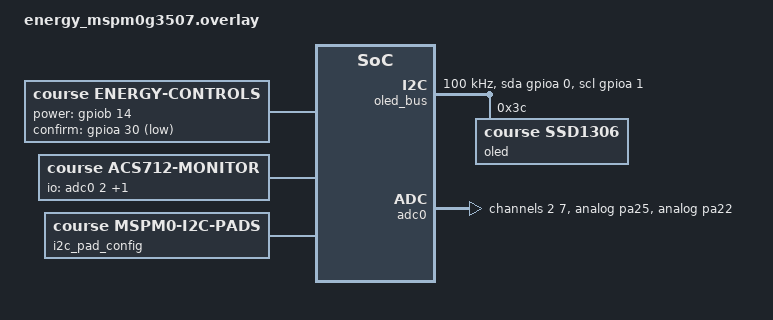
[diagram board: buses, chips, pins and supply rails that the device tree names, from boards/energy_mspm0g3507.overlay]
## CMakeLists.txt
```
cmake_minimum_required(VERSION 3.20.0)
list(APPEND BOARD_ROOT ${CMAKE_CURRENT_SOURCE_DIR})
list(APPEND DTS_ROOT ${CMAKE_CURRENT_SOURCE_DIR})
find_package(Zephyr REQUIRED HINTS $ENV{ZEPHYR_BASE})
include(${CMAKE_CURRENT_SOURCE_DIR}/cmake/zephyr_utf8.cmake)
project(energy_monitor)
target_sources(app PRIVATE src/main.c src/monitor.c src/acs712.c src/button.c
  src/ui_model.c src/ui_render.c src/ssd1306.c src/oled.c
  boards/seekfree/energy_mspm0g3507/i2c_inputs.c)
target_compile_options(app PRIVATE -Wall -Wextra)
```

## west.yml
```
manifest:
  projects:
    - name: zephyr
      url: https://github.com/zephyrproject-rtos/zephyr
      revision: 6ab04eeedd2036cdae06538056bc55848f9e5f82
      import: true
  self:
    path: energy-monitor
```

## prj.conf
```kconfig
CONFIG_GPIO=y
CONFIG_I2C=y
CONFIG_SERIAL=y
CONFIG_CONSOLE=y
CONFIG_UART_CONSOLE=y
CONFIG_PRINTK=y
CONFIG_MAIN_STACK_SIZE=2048
CONFIG_ADC=y
CONFIG_ADC_ASYNC=y
```

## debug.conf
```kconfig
CONFIG_USE_SEGGER_RTT=y
CONFIG_RTT_CONSOLE=y
CONFIG_UART_CONSOLE=n
CONFIG_SEGGER_RTT_BUFFER_SIZE_UP=8192
CONFIG_DEBUG_OPTIMIZATIONS=y
CONFIG_THREAD_NAME=y
```

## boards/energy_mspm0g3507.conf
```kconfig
CONFIG_I2C_GPIO=y
CONFIG_I2C_GPIO_CLOCK_STRETCHING=y
CONFIG_I2C_GPIO_CLOCK_STRETCHING_TIMEOUT_US=100
```

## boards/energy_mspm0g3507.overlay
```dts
#include <zephyr/dt-bindings/gpio/gpio.h>
#include <zephyr/dt-bindings/adc/adc.h>
#include <zephyr/dt-bindings/clock/mspm0_clock.h>
/ {
	controls: energy-controls {
		compatible = "course,energy-controls";
		power-gpios = <&gpiob 14 GPIO_ACTIVE_HIGH>;
		confirm-gpios = <&gpioa 30 GPIO_ACTIVE_LOW>;
	};
	oled_bus: oled-i2c {
		compatible = "gpio-i2c";
		#address-cells = <1>;
		#size-cells = <0>;
		scl-gpios = <&gpioa 1 (GPIO_ACTIVE_HIGH | GPIO_OPEN_DRAIN)>;
		sda-gpios = <&gpioa 0 (GPIO_ACTIVE_HIGH | GPIO_OPEN_DRAIN)>;
		clock-frequency = <100000>;
		status = "okay";
		oled: display@3c {
			compatible = "course,ssd1306";
			reg = <0x3c>;
		};
	};
	acs712: current-monitor {
		compatible = "course,acs712-monitor";
		/* 通道顺序与ADC返回缓冲区一致：PA25电流、PA22输入电压。 */
		io-channels = <&adc0 2>, <&adc0 7>;
		sensitivity-microvolt-per-amp = <185000>;
		current-divider-top-ohms = <10000>;
		current-divider-bottom-ohms = <10000>;
		bus-divider-top-ohms = <10000>;
		bus-divider-bottom-ohms = <1000>;
	};
	i2c_pad_config: i2c-pad-config {
		compatible = "course,mspm0-i2c-pads";
		pinctrl-0 = <&gpioa_00_pa0 &gpioa_01_pa1>;
		pinctrl-names = "default";
	};
};
&gpioa_00_pa0 { input-enable; drive-open-drain; bias-disable; };
&gpioa_01_pa1 { input-enable; drive-open-drain; bias-disable; };
&adc0 {
	clocks = <&ckm MSPM0_CLOCK_ULPCLK>;
	ti,clk-divider = <4>;
	ti,clk-range = <6>; /* ULPCLK=40MHz，输入时钟32~40MHz档，再除4。 */
	max-result-reg = <12>;
	pinctrl-0 = <&analog_pa25 &analog_pa22>;
	pinctrl-names = "default";
	status = "okay";
	#address-cells = <1>;
	#size-cells = <0>;
	channel@2 {
		reg = <2>;
		zephyr,gain = "ADC_GAIN_1";
		zephyr,reference = "ADC_REF_VDD_1";
		zephyr,acquisition-time = <ADC_ACQ_TIME(ADC_ACQ_TIME_TICKS, 160)>;
		zephyr,resolution = <12>;
	};
	channel@7 {
		reg = <7>;
		zephyr,gain = "ADC_GAIN_1";
		zephyr,reference = "ADC_REF_VDD_1";
		zephyr,acquisition-time = <ADC_ACQ_TIME(ADC_ACQ_TIME_TICKS, 160)>;
		zephyr,resolution = <12>;
	};
};
```

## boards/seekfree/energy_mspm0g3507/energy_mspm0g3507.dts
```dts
/dts-v1/;
#include <ti/mspm0/g/mspm0g3507.dtsi>
#include <ti/mspm0/g/mspm0g1x0x_g3x0x-pinctrl.dtsi>
#include <zephyr/dt-bindings/clock/mspm0_clock.h>
#include <zephyr/dt-bindings/gpio/gpio.h>

/ {
	model = "SEEKFREE MSPM0G3507 CoreBoard + MotherBoard";
	compatible = "seekfree,energy-mspm0g3507";
	chosen {
		zephyr,sram = &sram0;
		zephyr,flash = &flash0;
		zephyr,console = &uart2;
	};
};
&cpu0 { clock-frequency = <DT_FREQ_M(80)>; };
&ulpclk { clock-frequency = <DT_FREQ_M(40)>; clk-div = <2>; };
&mclk { clock-frequency = <DT_FREQ_M(80)>; clocks = <&syspll>; };
&flash0 { status = "okay"; };
&pinctrl { status = "okay"; };
&gpioa {
	status = "okay";
	/* PA14 also drives core LED2. Keep the motherboard buzzer OFF. */
	buzzer_off {
		gpio-hog;
		gpios = <14 GPIO_ACTIVE_HIGH>;
		output-low;
		line-name = "buzzer-off";
	};
};
&gpiob { status = "okay"; };
&uart2 {
	pinctrl-0 = <&uart2_tx_pb15 &uart2_rx_pb16>;
	pinctrl-names = "default";
	current-speed = <115200>;
	status = "okay";
};
```

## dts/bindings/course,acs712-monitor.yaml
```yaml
description: ACS712-05B current sensing and motherboard input voltage dividers
compatible: "course,acs712-monitor"
include: base.yaml
properties:
  io-channels:
    required: true
    description: ADC current input followed by motherboard VCCBAT input
  sensitivity-microvolt-per-amp:
    type: int
    required: true
    description: ACS712 sensitivity at 5V supply; 05B is 185000
  current-divider-top-ohms:
    type: int
    required: true
  current-divider-bottom-ohms:
    type: int
    required: true
  bus-divider-top-ohms:
    type: int
    required: true
  bus-divider-bottom-ohms:
    type: int
    required: true
```

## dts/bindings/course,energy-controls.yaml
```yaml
description: Energy monitor GPIO controls, polled by the application
compatible: "course,energy-controls"
include: base.yaml
properties:
  power-gpios:
    type: phandle-array
    required: true
  confirm-gpios:
    type: phandle-array
    required: true
```

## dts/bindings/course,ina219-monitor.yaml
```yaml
description: INA219 raw shunt and bus acquisition with bounded conversion polling
compatible: "course,ina219-monitor"
include: i2c-device.yaml
properties:
  shunt-micro-ohms:
    type: int
    required: true
    description: Actual shunt resistance in microohms; R100 is 100000
```

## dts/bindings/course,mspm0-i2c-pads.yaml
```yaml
description: Restore physical input sensing on MSPM0 software I2C pads after GPIO setup
compatible: "course,mspm0-i2c-pads"
include: [base.yaml, pinctrl-device.yaml]
```

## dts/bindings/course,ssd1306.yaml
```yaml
description: Application SSD1306 128x64 I2C OLED, with 0x3C/0x3D discovery
compatible: "course,ssd1306"
include: i2c-device.yaml
```

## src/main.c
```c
#include "acs712.h"
#include "monitor.h"
#include "button.h"
#include "oled.h"
#include <errno.h>
#include <zephyr/drivers/gpio.h>
#include <zephyr/kernel.h>
#include <zephyr/sys/printk.h>

#define CTRL DT_NODELABEL(controls)
static const struct gpio_dt_spec power = GPIO_DT_SPEC_GET(CTRL, power_gpios);
static const struct gpio_dt_spec key = GPIO_DT_SPEC_GET(CTRL, confirm_gpios);

static int io_init(void)
{
	if (!gpio_is_ready_dt(&power)) {
		return -ENODEV;
	}
	/* PB14高电平导通，上电先配置为低电平，等待用户按键接通负载。 */
	int rc = gpio_pin_configure_dt(&power, GPIO_OUTPUT_INACTIVE);
	if (rc) {
		return rc;
	}
	if (!gpio_is_ready_dt(&key)) {
		return -ENODEV;
	}
	return gpio_pin_configure_dt(&key, GPIO_INPUT);
}

static int outputs_update(const struct monitor *m)
{
	return gpio_pin_set_dt(&power, monitor_power_on(m));
}

int main(void)
{
	struct monitor m;
	struct button button = {0};
	monitor_init(&m);
	int rc = io_init();
	if (rc) {
		printk("GPIO init failed: %d\n", rc);
		return rc;
	}
	oled_start(&m);
	printk("12V ACS712-05B monitor: boot OFF; button=restore/cancel countdown.\n");
	int64_t next_sample = 0, next_report = 0;
	enum monitor_state previous_state = MON_OFF;
	while (true) {
		int64_t now = k_uptime_get();
		if (now >= next_sample) {
			struct measurement sample;
			rc = acs712_acquire(&sample);
			now = k_uptime_get();
			monitor_sample(&m, now, rc == 0, rc == 0 ? &sample : NULL);
			if (rc && m.state != previous_state) {
				printk("ACS712 error: %d; output disabled\n", rc);
			}
			/* 转换完成后等待100ms；状态机使用实际时间计算30秒时长。 */
			next_sample = now + 100;
		}
		/* PA30配置为低有效，gpio_pin_get_dt返回1表示物理按下。 */
		int pressed = gpio_pin_get_dt(&key);
		if (pressed < 0) {
			monitor_sample(&m, now, false, NULL);
		} else if (button_update(&button, pressed != 0, now)) {
			if (!monitor_enable(&m, now)) {
				printk("Enable refused: measurement unavailable\n");
			} else {
				printk("Button: supply enabled/countdown restarted\n");
			}
		}
		rc = outputs_update(&m);
		if (rc) {
			(void)gpio_pin_set_dt(&power, 0);
			monitor_sample(&m, now, false, NULL);
			oled_publish(&m);
			printk("GPIO output failed: %d\n", rc);
			return rc;
		}
		oled_publish(&m);
		if (m.state != previous_state) {
			printk("STATE %s -> %s\n", monitor_state_name(previous_state),
			       monitor_state_name(m.state));
			previous_state = m.state;
		}
		if (now >= next_report) {
			printk("DATA valid=%u state=%s bus=%d mV current=%d uA power=%lld uW "
			       "oled=%u\n",
			       m.valid, monitor_state_name(m.state), m.reading.bus_mv,
			       m.reading.current_ua, (long long)m.reading.power_uw,
			       oled_is_ready());
			const struct acs712_diagnostics *d = acs712_diagnostics_get();
			printk("ACS_DIAG n=%u ok=%u fail=%u last=%d calibrated=%u "
			       "raw=%u/%u out=%d uV zero=%d uV\n",
			       d->attempts, d->successes, d->failures, d->last_error,
			       d->calibrated, d->current_raw, d->bus_raw,
			       d->output_uv, d->zero_uv);
			next_report = now + 1000;
		}
		k_msleep(10);
	}
	return 0;
}
```

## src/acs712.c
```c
#include "acs712.h"
#include "app_config.h"
#include <errno.h>
#include <zephyr/drivers/adc.h>
#include <zephyr/kernel.h>

#define SENSOR DT_NODELABEL(acs712)
#define SENSITIVITY_UV_A DT_PROP(SENSOR, sensitivity_microvolt_per_amp)
#define CURRENT_DIV_TOP DT_PROP(SENSOR, current_divider_top_ohms)
#define CURRENT_DIV_BOTTOM DT_PROP(SENSOR, current_divider_bottom_ohms)
#define BUS_DIV_TOP DT_PROP(SENSOR, bus_divider_top_ohms)
#define BUS_DIV_BOTTOM DT_PROP(SENSOR, bus_divider_bottom_ohms)
#define SAMPLE_COUNT 32
#define ZERO_BATCHES 8
#define ADC_COUNTS 4096

static const struct adc_dt_spec current_adc = ADC_DT_SPEC_GET_BY_IDX(SENSOR, 0);
static const struct adc_dt_spec bus_adc = ADC_DT_SPEC_GET_BY_IDX(SENSOR, 1);
/* 按通道号从小到大排列：ADC0_CH2电流、ADC0_CH7母线电压。 */
BUILD_ASSERT(DT_IO_CHANNELS_INPUT_BY_IDX(SENSOR, 0) <
	     DT_IO_CHANNELS_INPUT_BY_IDX(SENSOR, 1), "ADC channels must be ordered");
BUILD_ASSERT(CURRENT_DIV_BOTTOM > 0 && BUS_DIV_BOTTOM > 0 && SENSITIVITY_UV_A > 0,
	     "ADC divider and sensitivity must be positive");
static uint16_t samples[SAMPLE_COUNT][2];
static struct k_poll_signal completion;
static struct k_poll_event event;
static bool initialized, in_flight;
static struct acs712_diagnostics diagnostics;

const struct acs712_diagnostics *acs712_diagnostics_get(void)
{
	return &diagnostics;
}

static int adc_init(void)
{
	if (!adc_is_ready_dt(&current_adc) || !adc_is_ready_dt(&bus_adc)) {
		return -ENODEV;
	}
	int rc = adc_channel_setup_dt(&current_adc);
	if (!rc) {
		rc = adc_channel_setup_dt(&bus_adc);
	}
	if (rc) {
		return rc;
	}
	k_poll_signal_init(&completion);
	k_poll_event_init(&event, K_POLL_TYPE_SIGNAL, K_POLL_MODE_NOTIFY_ONLY, &completion);
	initialized = true;
	/* 外接10kΩ/10kΩ分压、ADC端100nF滤波，等待电压建立后再标定零点。 */
	k_msleep(10);
	return 0;
}

static int finish_read(int timeout_ms)
{
	int rc = k_poll(&event, 1, K_MSEC(timeout_ms));
	if (rc) {
		return rc == -EAGAIN ? -ETIMEDOUT : rc;
	}
	unsigned int signaled;
	int result;
	k_poll_signal_check(&completion, &signaled, &result);
	if (!signaled) {
		return -EIO;
	}
	in_flight = false;
	return result;
}

static int read_average(int32_t *current_uv, int32_t *bus_uv)
{
	/* 超时后仍保留静态缓冲区，等旧请求完成再发新请求，避免覆盖未完成的ADC操作。 */
	if (in_flight) {
		int rc = finish_read(0);
		if (in_flight) {
			return rc;
		}
	}
	k_poll_signal_reset(&completion);
	event.state = K_POLL_STATE_NOT_READY;
	const struct adc_sequence_options options = {
		.interval_us = 1000,
		.extra_samplings = SAMPLE_COUNT - 1,
	};
	const struct adc_sequence sequence = {
		.channels = (1U << current_adc.channel_id) | (1U << bus_adc.channel_id),
		.buffer = samples,
		.buffer_size = sizeof(samples),
		.resolution = 12,
		.oversampling = 4, /* 每次硬件16次平均，再在约32ms内对32组结果做软件平均。 */
		.options = &options,
	};
	int rc = adc_read_async(current_adc.dev, &sequence, &completion);
	if (rc) {
		return rc;
	}
	in_flight = true;
	rc = finish_read(100);
	if (rc) {
		return rc;
	}
	uint32_t current_sum = 0, bus_sum = 0;
	for (unsigned int i = 0; i < SAMPLE_COUNT; ++i) {
		/* ADC贴近电源轨时拒绝读数，检查断线、短接或输入电压异常。 */
		if (samples[i][0] < 16 || samples[i][0] > 4079 ||
		    samples[i][1] < 16 || samples[i][1] > 4079) {
			return -ERANGE;
		}
		current_sum += samples[i][0];
		bus_sum += samples[i][1];
	}
	diagnostics.current_raw = (current_sum + SAMPLE_COUNT / 2) / SAMPLE_COUNT;
	diagnostics.bus_raw = (bus_sum + SAMPLE_COUNT / 2) / SAMPLE_COUNT;
	/* ADC以VDDA为参考，12位码值乘实测参考电压/4096得到引脚电压µV。
	 * 先累加原始值，再统一换算，保留平均后的亚LSB信息。
	 * ADC_REFERENCE_UV默认3300000，实物调试可按万用表读数修正。
	 */
	*current_uv = ((int64_t)current_sum * ADC_REFERENCE_UV +
		      (int64_t)SAMPLE_COUNT * ADC_COUNTS / 2) / (SAMPLE_COUNT * ADC_COUNTS);
	*bus_uv = ((int64_t)bus_sum * ADC_REFERENCE_UV +
		  (int64_t)SAMPLE_COUNT * ADC_COUNTS / 2) / (SAMPLE_COUNT * ADC_COUNTS);
	return 0;
}

static int acquire(struct measurement *sample)
{
	int rc;
	if (!initialized && (rc = adc_init())) {
		return rc;
	}
	if (!diagnostics.calibrated) {
		/* 上电PB14保持低，负载电流为零。8×32组平均标定实际零点，约0.3秒。
		 * 05B在5V供电时零点约2.5V；OUT经过1:1分压后ADC端约1.25V。
		 * 标定仅在启动时进行，运行中停机也保留零点，避免把带载值误当作零。
		 */
		int64_t zero_sum = 0;
		for (unsigned int i = 0; i < ZERO_BATCHES; ++i) {
			int32_t current_uv, bus_uv;
			rc = read_average(&current_uv, &bus_uv);
			if (rc) {
				return rc;
			}
			int32_t output_uv = (int64_t)current_uv *
				(CURRENT_DIV_TOP + CURRENT_DIV_BOTTOM) / CURRENT_DIV_BOTTOM;
			if (output_uv < 2000000 || output_uv > 3000000) {
				return -ERANGE;
			}
			zero_sum += output_uv;
		}
		diagnostics.zero_uv = (zero_sum + ZERO_BATCHES / 2) / ZERO_BATCHES;
		diagnostics.calibrated = true;
	}
	int32_t current_uv, bus_uv;
	rc = read_average(&current_uv, &bus_uv);
	if (rc) {
		return rc;
	}
	/* 还原分压前电压：OUT分压10k/10k乘2；底板R18=10k、R19=1k乘11。
	 * PA22测的是VCCBAT输入总线，与负载使用同一供电节点。
	 */
	diagnostics.output_uv = (int64_t)current_uv *
		(CURRENT_DIV_TOP + CURRENT_DIV_BOTTOM) / CURRENT_DIV_BOTTOM;
	sample->bus_mv = ((int64_t)bus_uv * (BUS_DIV_TOP + BUS_DIV_BOTTOM) /
			  BUS_DIV_BOTTOM + 500) / 1000;
	/* ACS712-05B：灵敏度185mV/A=185000µV/A（5V供电标称值）。
	 * I[µA]=(OUT[µV]-零点[µV])×1000000/185000。
	 * 例如2.944V-2.500V=0.444V，对应2.4A；2.722V对应1.2A。
	 * 保留负号便于发现IP+/IP-接反；50mA内归零以抑制零点噪声。
	 * 全部乘法先转64位，防止微单位换算溢出。
	 */
	sample->current_ua = (int64_t)(diagnostics.output_uv - diagnostics.zero_uv) *
		1000000 / SENSITIVITY_UV_A;
	if (sample->bus_mv < 8000 || sample->bus_mv > 15000 ||
	    sample->current_ua < -5000000 || sample->current_ua > 5000000) {
		return -ERANGE;
	}
	if (sample->current_ua > -ACS712_ZERO_DEADBAND_UA &&
	    sample->current_ua < ACS712_ZERO_DEADBAND_UA) {
		sample->current_ua = 0;
	}
	/* P[µW]=V[mV]×I[µA]/1000，使用实测输入电压计算功率和界面等效阻值。 */
	sample->power_uw = (int64_t)sample->bus_mv * sample->current_ua / 1000;
	return 0;
}

int acs712_acquire(struct measurement *sample)
{
	diagnostics.attempts++;
	int rc = acquire(sample);
	if (rc) {
		diagnostics.failures++;
		diagnostics.last_error = rc;
	} else {
		diagnostics.successes++;
	}
	return rc;
}
```

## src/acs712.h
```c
#ifndef ENERGY_ACS712_H
#define ENERGY_ACS712_H
#include "monitor.h"

/* 调用前先将MOSFET关闭；首次采集自动在零电流下标定，之后沿用该零点。 */
int acs712_acquire(struct measurement *sample);
struct acs712_diagnostics {
	uint32_t attempts, successes, failures;
	int last_error;
	uint16_t current_raw, bus_raw;
	int32_t output_uv, zero_uv;
	bool calibrated;
};
const struct acs712_diagnostics *acs712_diagnostics_get(void);
#endif
```

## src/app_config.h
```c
#ifndef ENERGY_APP_CONFIG_H
#define ENERGY_APP_CONFIG_H
/* 12V、0.1Ω分流：5Ω负载约27.7W，10Ω约14.1W，以21W作为分界。 */
#define MONITOR_THRESHOLD_MW 21000U
/* 从首次低功率采样开始连续计时30秒，达到时长后直接断电。 */
#define MONITOR_STANDBY_MS 30000U
/* 有效采样间隔超过500ms时关闭负载，避免沿用过期读数继续计时。 */
#define MONITOR_MAX_SAMPLE_GAP_MS 500U
#endif
```

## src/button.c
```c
#include "button.h"

bool button_update(struct button *button, bool pressed_level, int64_t now)
{
	if (pressed_level != button->raw) {
		button->raw = pressed_level;
		button->changed_ms = now;
	}
	/* 电平连续稳定30ms才确认，长按期间保持供电状态，松开时执行恢复。 */
	if (button->pressed != button->raw && now - button->changed_ms >= 30) {
		button->pressed = button->raw;
		return !button->pressed;
	}
	return false;
}
```

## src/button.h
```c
#ifndef ENERGY_BUTTON_H
#define ENERGY_BUTTON_H
#include <stdbool.h>
#include <stdint.h>
struct button {
	bool raw;
	bool pressed;
	int64_t changed_ms;
};
/* pressed_level为GPIO低有效转换后的逻辑值；消抖后的松开沿仅产生一次动作。 */
bool button_update(struct button *button, bool pressed_level, int64_t now);
#endif
```

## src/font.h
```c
/* Generated by tools/generate_font.py. CJK: Noto (SIL OFL 1.1); ASCII: DejaVu (Bitstream Vera license). */
#ifndef ENERGY_FONT_H
#define ENERGY_FONT_H
#include <stdint.h>
struct font_glyph { uint32_t codepoint; uint8_t width, height; uint16_t rows[12]; };
static const struct font_glyph font_glyphs[] = {
    {0x0020, 6, 8, {0x000,0x000,0x000,0x000,0x000,0x000,0x000,0x000,0x000,0x000,0x000,0x000}}, /*   */
    {0x0021, 6, 8, {0x004,0x004,0x004,0x004,0x000,0x004,0x000,0x000,0x000,0x000,0x000,0x000}}, /* ! */
    {0x0022, 6, 8, {0x00a,0x00a,0x000,0x000,0x000,0x000,0x000,0x000,0x000,0x000,0x000,0x000}}, /* " */
    {0x0023, 6, 8, {0x008,0x01f,0x00a,0x00f,0x006,0x004,0x000,0x000,0x000,0x000,0x000,0x000}}, /* # */
    {0x0024, 6, 8, {0x004,0x00e,0x006,0x00e,0x00c,0x00e,0x004,0x000,0x000,0x000,0x000,0x000}}, /* $ */
    {0x0025, 6, 8, {0x003,0x005,0x00f,0x00e,0x014,0x00c,0x000,0x000,0x000,0x000,0x000,0x000}}, /* % */
    {0x0026, 6, 8, {0x00e,0x002,0x002,0x015,0x009,0x01e,0x000,0x000,0x000,0x000,0x000,0x000}}, /* & */
    {0x0027, 6, 8, {0x004,0x004,0x000,0x000,0x000,0x000,0x000,0x000,0x000,0x000,0x000,0x000}}, /* ' */
    {0x0028, 6, 8, {0x004,0x004,0x004,0x004,0x004,0x004,0x000,0x000,0x000,0x000,0x000,0x000}}, /* ( */
    {0x0029, 6, 8, {0x004,0x004,0x004,0x004,0x004,0x002,0x000,0x000,0x000,0x000,0x000,0x000}}, /* ) */
    {0x002a, 6, 8, {0x00c,0x006,0x006,0x00c,0x000,0x000,0x000,0x000,0x000,0x000,0x000,0x000}}, /* * */
    {0x002b, 6, 8, {0x000,0x004,0x004,0x01f,0x004,0x004,0x000,0x000,0x000,0x000,0x000,0x000}}, /* + */
    {0x002c, 6, 8, {0x000,0x000,0x000,0x000,0x000,0x004,0x004,0x000,0x000,0x000,0x000,0x000}}, /* , */
    {0x002d, 6, 8, {0x000,0x000,0x000,0x00e,0x000,0x000,0x000,0x000,0x000,0x000,0x000,0x000}}, /* - */
    {0x002e, 6, 8, {0x000,0x000,0x000,0x000,0x000,0x004,0x000,0x000,0x000,0x000,0x000,0x000}}, /* . */
    {0x002f, 6, 8, {0x008,0x008,0x004,0x004,0x002,0x002,0x001,0x000,0x000,0x000,0x000,0x000}}, /* / */
    {0x0030, 6, 8, {0x00e,0x00a,0x00f,0x009,0x00a,0x00e,0x000,0x000,0x000,0x000,0x000,0x000}}, /* 0 */
    {0x0031, 6, 8, {0x006,0x004,0x004,0x004,0x004,0x00e,0x000,0x000,0x000,0x000,0x000,0x000}}, /* 1 */
    {0x0032, 6, 8, {0x00e,0x008,0x008,0x004,0x002,0x00f,0x000,0x000,0x000,0x000,0x000,0x000}}, /* 2 */
    {0x0033, 6, 8, {0x00e,0x008,0x008,0x00e,0x008,0x00f,0x000,0x000,0x000,0x000,0x000,0x000}}, /* 3 */
    {0x0034, 6, 8, {0x00c,0x00c,0x00a,0x008,0x01f,0x008,0x000,0x000,0x000,0x000,0x000,0x000}}, /* 4 */
    {0x0035, 6, 8, {0x00e,0x002,0x00e,0x008,0x008,0x00f,0x000,0x000,0x000,0x000,0x000,0x000}}, /* 5 */
    {0x0036, 6, 8, {0x00e,0x002,0x003,0x00f,0x00a,0x00e,0x000,0x000,0x000,0x000,0x000,0x000}}, /* 6 */
    {0x0037, 6, 8, {0x00f,0x008,0x008,0x004,0x004,0x002,0x000,0x000,0x000,0x000,0x000,0x000}}, /* 7 */
    {0x0038, 6, 8, {0x00e,0x00a,0x00a,0x00e,0x00b,0x00e,0x000,0x000,0x000,0x000,0x000,0x000}}, /* 8 */
    {0x0039, 6, 8, {0x00e,0x00b,0x00e,0x008,0x008,0x00e,0x000,0x000,0x000,0x000,0x000,0x000}}, /* 9 */
    {0x003a, 6, 8, {0x000,0x000,0x004,0x000,0x000,0x004,0x000,0x000,0x000,0x000,0x000,0x000}}, /* : */
    {0x003b, 6, 8, {0x000,0x000,0x004,0x000,0x000,0x004,0x004,0x000,0x000,0x000,0x000,0x000}}, /* ; */
    {0x003c, 6, 8, {0x000,0x000,0x008,0x006,0x006,0x008,0x000,0x000,0x000,0x000,0x000,0x000}}, /* < */
    {0x003d, 6, 8, {0x000,0x000,0x01f,0x000,0x01f,0x000,0x000,0x000,0x000,0x000,0x000,0x000}}, /* = */
    {0x003e, 6, 8, {0x000,0x000,0x003,0x00c,0x00c,0x003,0x000,0x000,0x000,0x000,0x000,0x000}}, /* > */
    {0x003f, 6, 8, {0x00e,0x008,0x004,0x004,0x000,0x004,0x000,0x000,0x000,0x000,0x000,0x000}}, /* ? */
    {0x0040, 6, 8, {0x000,0x00e,0x013,0x01d,0x01d,0x003,0x00e,0x000,0x000,0x000,0x000,0x000}}, /* @ */
    {0x0041, 6, 8, {0x004,0x006,0x00a,0x00a,0x00f,0x011,0x000,0x000,0x000,0x000,0x000,0x000}}, /* A */
    {0x0042, 6, 8, {0x00e,0x00a,0x00a,0x00e,0x00a,0x00e,0x000,0x000,0x000,0x000,0x000,0x000}}, /* B */
    {0x0043, 6, 8, {0x00e,0x002,0x003,0x003,0x002,0x00e,0x000,0x000,0x000,0x000,0x000,0x000}}, /* C */
    {0x0044, 6, 8, {0x007,0x009,0x009,0x009,0x009,0x007,0x000,0x000,0x000,0x000,0x000,0x000}}, /* D */
    {0x0045, 6, 8, {0x00e,0x002,0x002,0x00e,0x002,0x00e,0x000,0x000,0x000,0x000,0x000,0x000}}, /* E */
    {0x0046, 6, 8, {0x00e,0x002,0x002,0x00e,0x002,0x002,0x000,0x000,0x000,0x000,0x000,0x000}}, /* F */
    {0x0047, 6, 8, {0x00e,0x002,0x001,0x009,0x00a,0x00e,0x000,0x000,0x000,0x000,0x000,0x000}}, /* G */
    {0x0048, 6, 8, {0x009,0x009,0x009,0x00f,0x009,0x009,0x000,0x000,0x000,0x000,0x000,0x000}}, /* H */
    {0x0049, 6, 8, {0x00e,0x004,0x004,0x004,0x004,0x00e,0x000,0x000,0x000,0x000,0x000,0x000}}, /* I */
    {0x004a, 6, 8, {0x00e,0x008,0x008,0x008,0x008,0x007,0x000,0x000,0x000,0x000,0x000,0x000}}, /* J */
    {0x004b, 6, 8, {0x009,0x005,0x007,0x007,0x009,0x019,0x000,0x000,0x000,0x000,0x000,0x000}}, /* K */
    {0x004c, 6, 8, {0x002,0x002,0x002,0x002,0x002,0x01e,0x000,0x000,0x000,0x000,0x000,0x000}}, /* L */
    {0x004d, 6, 8, {0x01b,0x01b,0x01f,0x015,0x011,0x011,0x000,0x000,0x000,0x000,0x000,0x000}}, /* M */
    {0x004e, 6, 8, {0x00b,0x00b,0x00f,0x00d,0x009,0x009,0x000,0x000,0x000,0x000,0x000,0x000}}, /* N */
    {0x004f, 6, 8, {0x00e,0x00a,0x009,0x009,0x00a,0x00e,0x000,0x000,0x000,0x000,0x000,0x000}}, /* O */
    {0x0050, 6, 8, {0x00e,0x01a,0x00e,0x002,0x002,0x002,0x000,0x000,0x000,0x000,0x000,0x000}}, /* P */
    {0x0051, 6, 8, {0x00e,0x00a,0x009,0x009,0x00a,0x00e,0x008,0x000,0x000,0x000,0x000,0x000}}, /* Q */
    {0x0052, 6, 8, {0x00f,0x009,0x00f,0x009,0x009,0x011,0x000,0x000,0x000,0x000,0x000,0x000}}, /* R */
    {0x0053, 6, 8, {0x00e,0x003,0x006,0x00c,0x008,0x00f,0x000,0x000,0x000,0x000,0x000,0x000}}, /* S */
    {0x0054, 6, 8, {0x01f,0x004,0x004,0x004,0x004,0x004,0x000,0x000,0x000,0x000,0x000,0x000}}, /* T */
    {0x0055, 6, 8, {0x00b,0x00b,0x00b,0x00b,0x00a,0x00e,0x000,0x000,0x000,0x000,0x000,0x000}}, /* U */
    {0x0056, 6, 8, {0x011,0x00a,0x00a,0x00a,0x006,0x004,0x000,0x000,0x000,0x000,0x000,0x000}}, /* V */
    {0x0057, 6, 8, {0x011,0x011,0x015,0x00f,0x00a,0x00a,0x000,0x000,0x000,0x000,0x000,0x000}}, /* W */
    {0x0058, 6, 8, {0x00a,0x00a,0x004,0x006,0x00a,0x019,0x000,0x000,0x000,0x000,0x000,0x000}}, /* X */
    {0x0059, 6, 8, {0x019,0x00a,0x006,0x004,0x004,0x004,0x000,0x000,0x000,0x000,0x000,0x000}}, /* Y */
    {0x005a, 6, 8, {0x01e,0x008,0x004,0x004,0x002,0x01e,0x000,0x000,0x000,0x000,0x000,0x000}}, /* Z */
    {0x005b, 6, 8, {0x004,0x004,0x004,0x004,0x004,0x00c,0x000,0x000,0x000,0x000,0x000,0x000}}, /* [ */
    {0x005c, 6, 8, {0x001,0x002,0x002,0x004,0x004,0x008,0x008,0x000,0x000,0x000,0x000,0x000}}, /* \ */
    {0x005d, 6, 8, {0x004,0x004,0x004,0x004,0x004,0x006,0x000,0x000,0x000,0x000,0x000,0x000}}, /* ] */
    {0x005e, 6, 8, {0x006,0x00a,0x000,0x000,0x000,0x000,0x000,0x000,0x000,0x000,0x000,0x000}}, /* ^ */
    {0x005f, 6, 8, {0x000,0x000,0x000,0x000,0x000,0x000,0x000,0x01f,0x000,0x000,0x000,0x000}}, /* _ */
    {0x0060, 6, 8, {0x004,0x000,0x000,0x000,0x000,0x000,0x000,0x000,0x000,0x000,0x000,0x000}}, /* ` */
    {0x0061, 6, 8, {0x000,0x000,0x00e,0x00e,0x00b,0x00e,0x000,0x000,0x000,0x000,0x000,0x000}}, /* a */
    {0x0062, 6, 8, {0x002,0x002,0x00e,0x00a,0x00a,0x00e,0x000,0x000,0x000,0x000,0x000,0x000}}, /* b */
    {0x0063, 6, 8, {0x000,0x000,0x00e,0x002,0x002,0x00e,0x000,0x000,0x000,0x000,0x000,0x000}}, /* c */
    {0x0064, 6, 8, {0x008,0x008,0x00e,0x00b,0x00b,0x00e,0x000,0x000,0x000,0x000,0x000,0x000}}, /* d */
    {0x0065, 6, 8, {0x000,0x000,0x00e,0x00f,0x003,0x00e,0x000,0x000,0x000,0x000,0x000,0x000}}, /* e */
    {0x0066, 6, 8, {0x004,0x004,0x00e,0x004,0x004,0x004,0x000,0x000,0x000,0x000,0x000,0x000}}, /* f */
    {0x0067, 6, 8, {0x000,0x000,0x00e,0x00b,0x00b,0x00e,0x008,0x00e,0x000,0x000,0x000,0x000}}, /* g */
    {0x0068, 6, 8, {0x002,0x002,0x00e,0x00a,0x00a,0x00a,0x000,0x000,0x000,0x000,0x000,0x000}}, /* h */
    {0x0069, 6, 8, {0x000,0x000,0x006,0x004,0x004,0x00e,0x000,0x000,0x000,0x000,0x000,0x000}}, /* i */
    {0x006a, 6, 8, {0x000,0x000,0x006,0x004,0x004,0x004,0x004,0x006,0x000,0x000,0x000,0x000}}, /* j */
    {0x006b, 6, 8, {0x002,0x002,0x00a,0x006,0x00a,0x00a,0x000,0x000,0x000,0x000,0x000,0x000}}, /* k */
    {0x006c, 6, 8, {0x004,0x004,0x004,0x004,0x004,0x00c,0x000,0x000,0x000,0x000,0x000,0x000}}, /* l */
    {0x006d, 6, 8, {0x000,0x000,0x00f,0x015,0x015,0x015,0x000,0x000,0x000,0x000,0x000,0x000}}, /* m */
    {0x006e, 6, 8, {0x000,0x000,0x00e,0x00a,0x00a,0x00a,0x000,0x000,0x000,0x000,0x000,0x000}}, /* n */
    {0x006f, 6, 8, {0x000,0x000,0x00e,0x00b,0x00b,0x00e,0x000,0x000,0x000,0x000,0x000,0x000}}, /* o */
    {0x0070, 6, 8, {0x000,0x000,0x00e,0x00a,0x00a,0x00e,0x002,0x002,0x000,0x000,0x000,0x000}}, /* p */
    {0x0071, 6, 8, {0x000,0x000,0x00e,0x00b,0x00b,0x00e,0x008,0x008,0x000,0x000,0x000,0x000}}, /* q */
    {0x0072, 6, 8, {0x000,0x000,0x01e,0x006,0x002,0x002,0x000,0x000,0x000,0x000,0x000,0x000}}, /* r */
    {0x0073, 6, 8, {0x000,0x000,0x00e,0x002,0x008,0x00e,0x000,0x000,0x000,0x000,0x000,0x000}}, /* s */
    {0x0074, 6, 8, {0x000,0x004,0x00f,0x004,0x004,0x00c,0x000,0x000,0x000,0x000,0x000,0x000}}, /* t */
    {0x0075, 6, 8, {0x000,0x000,0x00a,0x00a,0x00a,0x00e,0x000,0x000,0x000,0x000,0x000,0x000}}, /* u */
    {0x0076, 6, 8, {0x000,0x000,0x009,0x00a,0x00a,0x004,0x000,0x000,0x000,0x000,0x000,0x000}}, /* v */
    {0x0077, 6, 8, {0x000,0x000,0x011,0x015,0x00e,0x00a,0x000,0x000,0x000,0x000,0x000,0x000}}, /* w */
    {0x0078, 6, 8, {0x000,0x000,0x00a,0x004,0x006,0x00a,0x000,0x000,0x000,0x000,0x000,0x000}}, /* x */
    {0x0079, 6, 8, {0x000,0x000,0x00b,0x00a,0x00e,0x004,0x004,0x002,0x000,0x000,0x000,0x000}}, /* y */
    {0x007a, 6, 8, {0x000,0x000,0x00e,0x000,0x000,0x00e,0x000,0x000,0x000,0x000,0x000,0x000}}, /* z */
    {0x007b, 6, 8, {0x004,0x004,0x006,0x004,0x004,0x00c,0x000,0x000,0x000,0x000,0x000,0x000}}, /* { */
    {0x007c, 6, 8, {0x004,0x004,0x004,0x004,0x004,0x004,0x004,0x000,0x000,0x000,0x000,0x000}}, /* | */
    {0x007d, 6, 8, {0x004,0x004,0x00c,0x004,0x004,0x006,0x000,0x000,0x000,0x000,0x000,0x000}}, /* } */
    {0x007e, 6, 8, {0x000,0x000,0x000,0x01f,0x000,0x000,0x000,0x000,0x000,0x000,0x000,0x000}}, /* ~ */
    {0x4f20, 12, 12, {0x000,0x088,0x7fc,0x044,0x046,0xffe,0x025,0x7e4,0x204,0x104,0x1c4,0x184}}, /* 传 */
    {0x4f9b, 12, 12, {0x208,0x26c,0x264,0x7f6,0x266,0x267,0x264,0xff4,0x004,0x224,0x434,0x414}}, /* 供 */
    {0x5173, 12, 12, {0x108,0x108,0x190,0x7fe,0x060,0x060,0x7fe,0x060,0x0b0,0x198,0x70c,0x402}}, /* 关 */
    {0x51fa, 12, 12, {0x060,0x264,0x264,0x264,0x264,0x3fc,0x060,0x462,0x462,0x462,0x7fe,0x400}}, /* 出 */
    {0x5668, 12, 12, {0x79e,0x692,0x79e,0x120,0x7fe,0x188,0x30c,0xf9e,0x692,0x692,0x79e,0x000}}, /* 器 */
    {0x590d, 12, 12, {0x008,0x7fc,0x006,0x3fe,0x3fc,0x20c,0x3f8,0x018,0x3fc,0x196,0x1f8,0x70f}}, /* 复 */
    {0x5df2, 12, 12, {0x3fe,0x200,0x204,0x204,0x3fc,0x204,0x004,0x404,0x404,0x404,0x7fc,0x000}}, /* 已 */
    {0x5e38, 12, 12, {0x264,0x168,0x7fe,0x402,0x5fa,0x108,0x1f8,0x040,0x3fc,0x244,0x244,0x344}}, /* 常 */
    {0x5f02, 12, 12, {0x3fc,0x204,0x3fc,0x404,0x7fc,0x000,0x108,0x7fe,0x10c,0x104,0x102,0x000}}, /* 异 */
    {0x5f85, 12, 12, {0x088,0x084,0x7e2,0x088,0xff4,0x206,0x206,0xff4,0x224,0x244,0x244,0x384}}, /* 待 */
    {0x6062, 12, 12, {0x044,0x044,0x7fc,0x16e,0x126,0x5a5,0x524,0x374,0x114,0x28c,0x6c4,0x424}}, /* 恢 */
    {0x611f, 12, 12, {0x000,0x280,0x7fc,0x082,0x2fe,0x3ba,0x14a,0x9fa,0x602,0x028,0x64a,0x50a}}, /* 感 */
    {0x6309, 12, 12, {0x084,0x184,0x7f4,0x4bf,0x0c4,0xff4,0x25c,0x227,0x364,0x184,0x3c4,0x436}}, /* 按 */
    {0x65ad, 12, 12, {0x000,0x612,0x3b6,0x0be,0x092,0xffe,0x29a,0x2ba,0x2d6,0x296,0x242,0x27e}}, /* 断 */
    {0x65b0, 12, 12, {0x000,0x608,0x3be,0x090,0x094,0xffe,0x2c8,0x2fe,0x248,0x25a,0x26a,0x248}}, /* 新 */
    {0x65f6, 12, 12, {0x200,0x21e,0x212,0xff2,0x212,0x25e,0x2d2,0x292,0x212,0x21e,0x202,0x380}}, /* 时 */
    {0x673a, 12, 12, {0x008,0x3cc,0x24c,0x25e,0x24c,0x24c,0x25e,0x25e,0x26f,0xa2c,0xa2c,0x61c}}, /* 机 */
    {0x6b63, 12, 12, {0x7fe,0x040,0x040,0x044,0x7c4,0x044,0x044,0x044,0x044,0x7fe,0x000,0x000}}, /* 正 */
    {0x7535, 12, 12, {0x020,0x020,0x3fe,0x226,0x226,0x3fe,0x226,0x3fe,0x026,0xc20,0x460,0x7c0}}, /* 电 */
    {0x79d2, 12, 12, {0x198,0x18e,0x38c,0x5cc,0x5ff,0x5ac,0x1bc,0x79e,0x20f,0x10c,0x0cc,0x03c}}, /* 秒 */
    {0x89e3, 12, 12, {0x004,0x7dc,0x492,0x4be,0x66a,0x3aa,0x7fe,0x36a,0x33e,0xfea,0x32a,0x311}}, /* 解 */
    {0x8ba1, 12, 12, {0x184,0x18c,0x188,0x180,0xff7,0x184,0x184,0x184,0x184,0x19c,0x18c,0x184}}, /* 计 */
    {0x8f93, 12, 12, {0x000,0x184,0x1ce,0x662,0x7f2,0x00a,0x6ea,0x6ae,0x6e8,0x6ec,0x4ae,0x4a8}}, /* 输 */
    {0x91cd, 12, 12, {0x380,0x0fc,0x7fe,0x060,0x3fc,0x3fc,0x264,0x3fc,0x060,0x7fc,0x060,0x7fe}}, /* 重 */
    {0x952e, 12, 12, {0x104,0x7f6,0x522,0xfa1,0x7fe,0x144,0x7ce,0x134,0x7a4,0x12c,0x1dc,0x790}}, /* 键 */
    {0x95ed, 12, 12, {0x000,0x7f4,0x400,0x482,0x5fa,0x4c2,0x4e2,0x4b2,0x49a,0x482,0x462,0x602}}, /* 闭 */
    {0x9664, 12, 12, {0x000,0x18e,0x1ca,0x26a,0xc36,0x3e6,0x18a,0x7fa,0x18a,0x3ae,0x5a2,0xd92}}, /* 除 */
};
#endif
```

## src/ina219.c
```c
#include "ina219.h"
#include <errno.h>
#include <zephyr/drivers/i2c.h>
#include <zephyr/kernel.h>
#include <zephyr/sys/byteorder.h>

#define INA DT_NODELABEL(ina219)
/* 设备树填分流电阻的实际阻值，单位µΩ；本模块R100=0.1Ω=100000µΩ。 */
#define SHUNT_UOHM DT_PROP(INA, shunt_micro_ohms)
BUILD_ASSERT(SHUNT_UOHM > 0, "Shunt resistance must be positive");
static const struct i2c_dt_spec bus = I2C_DT_SPEC_GET(INA);
static struct ina219_diagnostics diagnostics;

const struct ina219_diagnostics *ina219_diagnostics_get(void)
{
	return &diagnostics;
}

static int failed(enum ina219_step step, int error)
{
	diagnostics.failures[step]++;
	diagnostics.last_failure = step;
	diagnostics.last_error = error;
	return error;
}

static int read_reg(uint8_t reg, uint16_t *value)
{
	uint8_t bytes[2];
	int rc = i2c_write_read_dt(&bus, &reg, 1, bytes, sizeof(bytes));
	if (!rc) {
		/* INA219寄存器为16位，高字节先传输。 */
		*value = sys_get_be16(bytes);
	}
	return rc;
}

int ina219_acquire(struct measurement *sample)
{
	diagnostics.attempts++;
	if (!i2c_is_ready_dt(&bus)) {
		return failed(INA_CONFIG, -ENODEV);
	}
	/* 配置寄存器0x00，组合结果0x399F，采用实物验证通过的12位连续采样：
	 * bit13 BRNG=1：母线寄存器采用32V档；芯片输入实际仍须≤26V。
	 * bit12:11 PG=11：分流压降量程±320mV，R100对应约±3.2A。
	 * bit10:7 BADC=0011、bit6:3 SADC=0011：母线/分流均为12位，不作硬件平均。
	 * 单通道典型532µs，两路合计约1.064ms。实物在16次平均时零点出现
	 * 0x1000、0x2000等异常跳变，切换本配置后零点及通信恢复稳定。
	 * 该现象记录于docs/验证记录.md；两档负载电流相差约1.165A，12位足够判别。
	 * bit2:0 MODE=111：分流和母线连续转换，保持采样期间设备正常响应。
	 * 每轮重新写入配置，再等待转换完成；直接读取分流/母线原始寄存器，
	 * 电流和功率由下方计算，因此无需写校准寄存器或读取电流/功率寄存器。
	 */
	const uint16_t config = (1U << 13) | (3U << 11) | (3U << 7) | (3U << 3) | 7U;
	uint8_t tx[] = {0, config >> 8, config & 0xff};
	int rc = i2c_write_dt(&bus, tx, sizeof(tx));
	if (rc) {
		return failed(INA_CONFIG, rc);
	}
	int64_t deadline = k_uptime_get() + 50;
	uint16_t status = 0;
	/* 母线寄存器0x02的bit1为CNVR；50ms内完成转换才接受本次读数。 */
	do {
		k_msleep(2);
		rc = read_reg(2, &status);
		if (rc) {
			return failed(INA_BUS, rc);
		}
		if (status & 2) {
			break;
		}
	} while (k_uptime_get() < deadline);
	if (!(status & 2)) {
		return failed(INA_CONVERSION, -ETIMEDOUT);
	}
	uint16_t shunt;
	rc = read_reg(1, &shunt);
	if (rc) {
		return failed(INA_SHUNT, rc);
	}
	diagnostics.bus_raw = status;
	diagnostics.shunt_raw = shunt;
	/* 分流寄存器0x01是16位二进制补码，1LSB=10µV。
	 * 先转int16_t恢复正负号，再乘10得到µV；接反时会保留负电流。
	 * 母线寄存器bit15:3为测量值，1LSB=4mV；右移去掉底部状态位。
	 */
	int32_t shunt_uv = (int16_t)shunt * 10;
	int32_t bus_mv = (status >> 3) * 4;
	if (bus_mv > 26000 || shunt_uv >= 320000 || shunt_uv <= -320000) {
		return failed(INA_RANGE, -ERANGE);
	}
	/* 欧姆定律I=Vshunt/Rshunt，按整数单位换算：
	 * I[µA] = Vshunt[µV] × 1000000 / Rshunt[µΩ]。
	 * R100时每个原始计数对应100µA=0.1mA。
	 * 12V电源计入0.1Ω分流电阻：5Ω负载约2.353A，分流235.3mV、原始值约23529；
	 * 10Ω负载约1.188A，分流118.8mV、原始值约11881，均在±320mV量程内。
	 * 先转int64_t再乘，防止µV乘1000000时超出32位整数范围。
	 */
	sample->bus_mv = bus_mv;
	sample->current_ua = (int64_t)shunt_uv * 1000000 / SHUNT_UOHM;
	/* P=U×I：mV×µA得到nW，除1000转为µW，供21W阈值判断。
	 * 使用实测母线电压；例如低档约11880mV×1188100µA/1000=14114628µW≈14.1W。
	 */
	sample->power_uw = (int64_t)bus_mv * sample->current_ua / 1000;
	diagnostics.successes++;
	return 0;
}

#ifdef CONFIG_DEBUG_OPTIMIZATIONS
#include <zephyr/sys/printk.h>
volatile uint32_t ina219_debug_scan_request;
void ina219_debug_scan(void)
{
	for (uint16_t address = 0x40; address <= 0x4f; ++address) {
		struct i2c_dt_spec target = bus;
		target.addr = address;
		uint8_t reg = 0, bytes[2] = {0};
		int rc = i2c_write_read_dt(&target, &reg, 1, bytes, 2);
		printk("INA_SCAN addr=0x%02x rc=%d config=%04x\n",
		       address, rc, sys_get_be16(bytes));
	}
}
#endif
```

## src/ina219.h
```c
#ifndef ENERGY_INA219_H
#define ENERGY_INA219_H
#include "monitor.h"
enum ina219_step { INA_CONFIG, INA_BUS, INA_SHUNT, INA_CONVERSION, INA_RANGE, INA_STEPS };
struct ina219_diagnostics {
	uint32_t attempts, successes;
	uint32_t failures[INA_STEPS];
	int last_error;
	enum ina219_step last_failure;
	uint16_t bus_raw, shunt_raw;
};
int ina219_acquire(struct measurement *sample);
const struct ina219_diagnostics *ina219_diagnostics_get(void);
#ifdef CONFIG_DEBUG_OPTIMIZATIONS
extern volatile uint32_t ina219_debug_scan_request;
void ina219_debug_scan(void);
#endif
#endif
```

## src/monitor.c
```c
#include "monitor.h"
#include "app_config.h"
#include <string.h>

bool monitor_power_on(const struct monitor *m)
{
	return m->state == MON_RUNNING || m->state == MON_PENDING;
}

void monitor_init(struct monitor *m)
{
	memset(m, 0, sizeof(*m));
	m->params = (struct monitor_params){
		.threshold_mw = MONITOR_THRESHOLD_MW,
		.standby_ms = MONITOR_STANDBY_MS,
	};
	m->state = MON_OFF;
}

bool monitor_enable(struct monitor *m, int64_t now)
{
	if (!m->valid) {
		return false;
	}
	/* 按键恢复供电或重新计时；低功率计时由接通后的新采样启动。 */
	m->state = MON_RUNNING;
	m->previous_ms = now;
	m->have_previous = true;
	return true;
}

void monitor_disable(struct monitor *m)
{
	m->state = MON_OFF;
	m->have_previous = false;
}

void monitor_sample(struct monitor *m, int64_t now, bool valid,
		    const struct measurement *sample)
{
	m->valid = valid;
	if (!valid) {
		m->state = MON_FAULT;
		m->have_previous = false;
		return;
	}
	m->reading = *sample;
	if (!monitor_power_on(m)) {
		m->have_previous = false;
		return;
	}
	/* 采样中断时关闭输出，防止用陈旧读数判断连续低功率。 */
	if (m->have_previous && (now < m->previous_ms ||
	    now - m->previous_ms > MONITOR_MAX_SAMPLE_GAP_MS)) {
		m->state = MON_FAULT;
		m->have_previous = false;
		return;
	}
	m->previous_ms = now;
	m->have_previous = true;
	/* 21W及以上为正常档；恢复正常功率立即清除本轮待机计时。 */
	if (sample->power_uw >= (int64_t)m->params.threshold_mw * 1000) {
		m->state = MON_RUNNING;
		return;
	}
	if (m->state == MON_RUNNING) {
		m->low_since_ms = now;
		m->state = MON_PENDING;
	}
	/* 10Ω、空载及反向功率均按低功率处理，连续30秒后断电。 */
	if (now - m->low_since_ms >= m->params.standby_ms) {
		monitor_disable(m);
	}
}

const char *monitor_state_name(enum monitor_state state)
{
	static const char *const names[] = {
		"OFF", "RUNNING", "PENDING", "FAULT"
	};
	return names[state];
}
```

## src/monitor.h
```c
#ifndef ENERGY_MONITOR_H
#define ENERGY_MONITOR_H
#include <stdbool.h>
#include <stdint.h>

/* 两档负载对应正常供电和待机计时；另外保留断电、采集故障状态。 */
enum monitor_state { MON_OFF, MON_RUNNING, MON_PENDING, MON_FAULT };
/* 统一采用整数物理量：电压mV、电流µA、功率µW，避免浮点换算。 */
struct measurement { int32_t bus_mv; int32_t current_ua; int64_t power_uw; };
struct monitor_params {
	uint32_t threshold_mw;
	uint32_t standby_ms;
};
struct monitor {
	struct monitor_params params;
	enum monitor_state state;
	struct measurement reading;
	bool valid;
	bool have_previous;
	int64_t previous_ms;
	int64_t low_since_ms;
};
void monitor_init(struct monitor *m);
void monitor_sample(struct monitor *m, int64_t now, bool valid,
		    const struct measurement *sample);
bool monitor_enable(struct monitor *m, int64_t now);
void monitor_disable(struct monitor *m);
bool monitor_power_on(const struct monitor *m);
const char *monitor_state_name(enum monitor_state state);
#endif
```

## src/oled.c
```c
#include "oled.h"
#include "ssd1306.h"
#include <zephyr/kernel.h>
#include <zephyr/sys/atomic.h>
#include <zephyr/sys/printk.h>

static struct monitor snapshot;
static uint8_t frame[OLED_FRAME_BYTES];
static atomic_t ready;
#ifdef CONFIG_DEBUG_OPTIMIZATIONS
/* J-Link调试时可暂停OLED传输，对照检查采样通信。 */
volatile uint32_t oled_debug_pause; /* 1=暂停传输，2=关屏并暂停传输 */
#endif
/* 主线程发布测量快照，显示线程加锁复制后再发I²C，避免阻塞负载控制。 */
K_MUTEX_DEFINE(snapshot_lock);

void oled_publish(const struct monitor *m)
{
	k_mutex_lock(&snapshot_lock, K_FOREVER);
	snapshot = *m;
	k_mutex_unlock(&snapshot_lock);
}

bool oled_is_ready(void)
{
	return atomic_get(&ready) != 0;
}

static void display_thread(void *a, void *b, void *c)
{
	ARG_UNUSED(a); ARG_UNUSED(b); ARG_UNUSED(c);
	bool initialized = false;
#ifdef CONFIG_DEBUG_OPTIMIZATIONS
	bool debug_blanked = false;
#endif
	bool reported_failure = false;
	while (true) {
#ifdef CONFIG_DEBUG_OPTIMIZATIONS
		if (oled_debug_pause) {
			if (oled_debug_pause == 2 && !debug_blanked) {
				int rc = ssd1306_set_display(false);
				printk("OLED_DIAG display_off rc=%d\n", rc);
				debug_blanked = rc == 0;
			}
			k_msleep(50);
			continue;
		}
		if (debug_blanked) {
			(void)ssd1306_set_display(true);
			debug_blanked = false;
		}
#endif
		int rc = 0;
		if (!initialized) {
			rc = ssd1306_init();
			initialized = rc == 0;
		}
		if (!rc) {
			struct monitor m;
			struct ui_view view;
			k_mutex_lock(&snapshot_lock, K_FOREVER);
			m = snapshot;
			k_mutex_unlock(&snapshot_lock);
			ui_build(&m, k_uptime_get(), &view);
			ui_render(&view, frame);
			rc = ssd1306_update(frame);
		}
		if (rc) {
			atomic_clear(&ready);
			initialized = false;
			if (!reported_failure) {
				printk("OLED unavailable: %d; retry in 2s\n", rc);
				reported_failure = true;
			}
			k_msleep(2000);
		} else {
			if (!oled_is_ready()) {
				printk("OLED ready (SSD1306 128x64)\n");
			}
			atomic_set(&ready, 1);
			reported_failure = false;
			k_msleep(200);
		}
	}
}

K_THREAD_DEFINE(oled_thread, 3072, display_thread, NULL, NULL, NULL, 7, 0, SYS_FOREVER_MS);

void oled_start(const struct monitor *m)
{
	oled_publish(m);
	k_thread_start(oled_thread);
}
```

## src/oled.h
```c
#ifndef ENERGY_OLED_H
#define ENERGY_OLED_H
#include "monitor.h"
void oled_start(const struct monitor *m);
void oled_publish(const struct monitor *m);
bool oled_is_ready(void);
#endif
```
